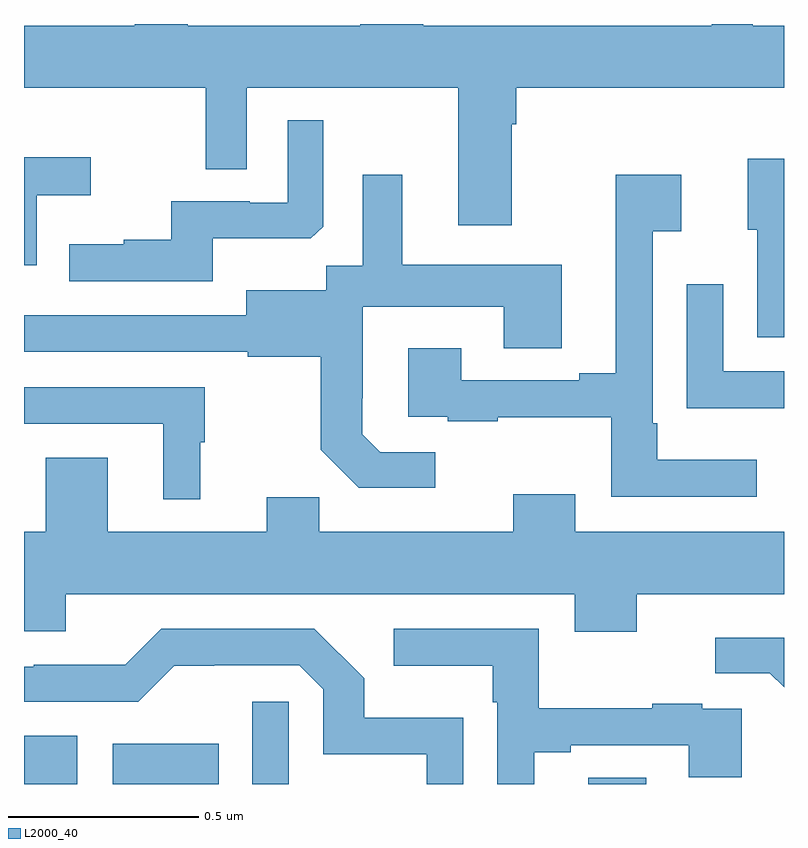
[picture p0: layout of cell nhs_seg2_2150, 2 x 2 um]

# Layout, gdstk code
import gdstk
lib = gdstk.Library(unit=1e-6, precision=1e-09)
def R(c, l, rs):  # rectangles x0, y0, x1, y1
    for r in rs: c.add(gdstk.rectangle(r[:2], r[2:], *l))
def P(c, l, *ps):  # polygons
    for p in ps: c.add(gdstk.Polygon(p, *l))
L2000_40 = (2000, 40)

nhs_seg2_2150 = lib.new_cell('nhs_seg2_2150')
R(nhs_seg2_2150, L2000_40, [(137,649.8,137.14,649.927), (137.234,649.8,137.512,649.906), (137.601,649.8,137.697,650.017), (138.485,649.8,138.637,649.817)])
P(nhs_seg2_2150, L2000_40, [(138.05,651.8),(137.885,651.8),(137.885,651.796),(137.431,651.796),(137.431,651.8),(137.291,651.8),(137.291,651.796),(137,651.796),(137,651.632),(137.478,651.632),(137.478,651.418),(137.586,651.418),(137.586,651.632),(138.143,651.632),(138.143,651.27),(138.283,651.27),(138.283,651.536),(138.296,651.536),(138.296,651.632),(139,651.632),(139,651.796),(138.918,651.796),(138.918,651.8),(138.81,651.8),(138.81,651.796),(138.05,651.796)],
  [(137.497,651.236),(137.755,651.236),(137.787,651.267),(137.787,651.547),(137.694,651.547),(137.694,651.33),(137.594,651.33),(137.594,651.333),(137.387,651.333),(137.387,651.232),(137.263,651.232),(137.263,651.22),(137.119,651.22),(137.119,651.123),(137.497,651.123)],
  [(137.034,651.35),(137.176,651.35),(137.176,651.449),(137,651.449),(137,651.165),(137.034,651.165)],
  [(139,651.446),(138.905,651.446),(138.905,651.258),(138.93,651.258),(138.93,650.976),(139,650.976)],
  [(138.928,650.653),(138.667,650.653),(138.667,650.749),(138.654,650.749),(138.654,651.254),(138.73,651.254),(138.73,651.403),(138.557,651.403),(138.557,650.881),(138.461,650.881),(138.461,650.862),(138.151,650.862),(138.151,650.947),(138.011,650.947),(138.011,650.766),(138.115,650.766),(138.115,650.754),(138.247,650.754),(138.247,650.765),(138.546,650.765),(138.546,650.556),(138.928,650.556)],
  [(138.082,650.673),(137.937,650.673),(137.89,650.72),(137.89,650.815),(137.892,650.815),(137.892,651.056),(138.263,651.056),(138.263,650.947),(138.415,650.947),(138.415,651.166),(137.995,651.166),(137.995,651.403),(137.891,651.403),(137.891,651.164),(137.796,651.164),(137.796,651.1),(137.585,651.1),(137.585,651.033),(137.027,651.033),(137.027,651.034),(137,651.034),(137,650.937),(137.589,650.937),(137.589,650.925),(137.781,650.925),(137.781,650.679),(137.881,650.579),(138.082,650.579)],
  [(139,650.886),(138.84,650.886),(138.84,651.115),(138.744,651.115),(138.744,650.789),(139,650.789)],
  [(137.464,650.7),(137.476,650.7),(137.476,650.844),(137,650.844),(137,650.748),(137.366,650.748),(137.366,650.549),(137.464,650.549)],
  [(138.613,650.3),(139,650.3),(139,650.464),(138.451,650.464),(138.451,650.563),(138.287,650.563),(138.287,650.464),(137.777,650.464),(137.777,650.555),(137.639,650.555),(137.639,650.464),(137.221,650.464),(137.221,650.659),(137.057,650.659),(137.057,650.464),(137,650.464),(137,650.202),(137.11,650.202),(137.11,650.3),(138.449,650.3),(138.449,650.201),(138.613,650.201)],
  [(138.343,649.884),(138.439,649.884),(138.439,649.902),(138.749,649.902),(138.749,649.818),(138.889,649.818),(138.889,649.998),(138.785,649.998),(138.785,650.011),(138.653,650.011),(138.653,650),(138.355,650),(138.355,650.208),(137.973,650.208),(137.973,650.111),(138.234,650.111),(138.234,650.015),(138.246,650.015),(138.246,649.8),(138.343,649.8)],
  [(138.156,649.975),(137.895,649.975),(137.895,650.078),(137.764,650.208),(137.361,650.208),(137.267,650.114),(137.026,650.114),(137.026,650.109),(137,650.109),(137,650.016),(137.301,650.016),(137.396,650.111),(137.5,650.111),(137.5,650.112),(137.724,650.112),(137.787,650.049),(137.787,649.878),(138.06,649.878),(138.06,649.8),(138.156,649.8)],
  [(139,650.185),(138.819,650.185),(138.819,650.091),(138.963,650.091),(139,650.054)])

lib.write_gds('nhs_seg2_2150.gds')
